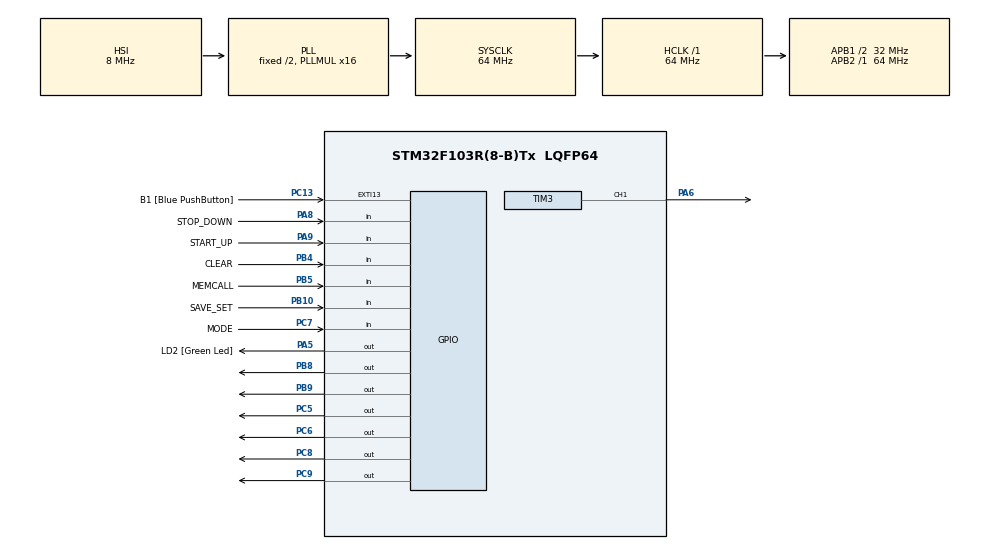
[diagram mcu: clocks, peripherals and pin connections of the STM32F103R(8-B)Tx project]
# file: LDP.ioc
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Mcu.Family=STM32F1
Mcu.Name=STM32F103R(8-B)Tx
Mcu.Package=LQFP64
NVIC.EXTI15_10_IRQn=true\:0\:0\:false\:false\:true\:true\:true
NVIC.PriorityGroup=NVIC_PRIORITYGROUP_4
NVIC.RCC_IRQn=true\:0\:0\:false\:false\:true\:true\:false
NVIC.TIM2_IRQn=true\:0\:0\:false\:false\:true\:true\:true
NVIC.TIM3_IRQn=true\:0\:0\:false\:false\:true\:true\:true
PA13.GPIO_Label=TMS
PA13.Mode=Serial_Wire
PA13.Signal=SYS_JTMS-SWDIO
PA14.GPIO_Label=TCK
PA14.Mode=Serial_Wire
PA14.Signal=SYS_JTCK-SWCLK
PA2.GPIO_Label=USART_TX
PA2.GPIO_Mode=GPIO_MODE_AF_PP
PA2.GPIO_PuPd=GPIO_NOPULL
PA2.GPIO_Speed=GPIO_SPEED_FREQ_LOW
PA2.Signal=USART2_TX
PA3.GPIO_Label=USART_RX
PA3.GPIO_Mode=GPIO_MODE_AF_PP
PA3.GPIO_PuPd=GPIO_NOPULL
PA3.GPIO_Speed=GPIO_SPEED_FREQ_LOW
PA3.Signal=USART2_RX
PA5.GPIO_Label=LD2 [Green Led]
PA5.GPIO_ModeDefaultOutputPP=GPIO_MODE_OUTPUT_PP
PA5.GPIO_PuPd=GPIO_NOPULL
PA5.GPIO_Speed=GPIO_SPEED_FREQ_LOW
PA5.Signal=GPIO_Output
PA6.Signal=S_TIM3_CH1
PA8.GPIO_Label=STOP_DOWN
PA8.GPIO_PuPd=GPIO_PULLUP
PA8.Signal=GPIO_Input
PA9.GPIO_Label=START_UP
PA9.GPIO_PuPd=GPIO_PULLUP
PA9.Signal=GPIO_Input
PB10.GPIO_Label=SAVE_SET
PB10.GPIO_PuPd=GPIO_PULLUP
PB10.Signal=GPIO_Input
PB3.GPIO_Label=SWO
PB3.Signal=SYS_JTDO-TRACESWO
PB4.GPIO_Label=CLEAR
PB4.GPIO_PuPd=GPIO_PULLUP
PB4.Signal=GPIO_Input
PB5.GPIO_Label=MEMCALL
PB5.GPIO_PuPd=GPIO_PULLUP
PB5.Signal=GPIO_Input
PB8.Signal=GPIO_Output
PB9.Signal=GPIO_Output
PC13-TAMPER-RTC.GPIO_Label=B1 [Blue PushButton]
PC13-TAMPER-RTC.GPIO_PuPd=GPIO_NOPULL
PC13-TAMPER-RTC.Signal=GPXTI13
PC14-OSC32_IN.Mode=LSE-External-Oscillator
PC14-OSC32_IN.Signal=RCC_OSC32_IN
PC15-OSC32_OUT.Mode=LSE-External-Oscillator
PC15-OSC32_OUT.Signal=RCC_OSC32_OUT
PC5.Signal=GPIO_Output
PC6.Signal=GPIO_Output
PC7.GPIO_Label=MODE
PC7.GPIO_PuPd=GPIO_PULLUP
PC7.Signal=GPIO_Input
PC8.Signal=GPIO_Output
PC9.Signal=GPIO_Output
PD0-OSC_IN.Mode=HSE-External-Oscillator
PD0-OSC_IN.Signal=RCC_OSC_IN
PD1-OSC_OUT.Mode=HSE-External-Oscillator
PD1-OSC_OUT.Signal=RCC_OSC_OUT
ProjectManager.HeapSize=0x200
ProjectManager.StackSize=0x400
ProjectManager.TargetToolchain=STM32CubeIDE
RCC.AHBFreq_Value=64000000
RCC.APB1CLKDivider=RCC_HCLK_DIV2
RCC.APB1Freq_Value=32000000
RCC.APB1TimFreq_Value=64000000
RCC.APB2Freq_Value=64000000
RCC.APB2TimFreq_Value=64000000
RCC.HCLKFreq_Value=64000000
RCC.PLLMUL=RCC_PLL_MUL16
RCC.RTCClockSelection=RCC_RTCCLKSOURCE_HSE_DIV128
RCC.SYSCLKFreq_VALUE=64000000
RCC.SYSCLKSource=RCC_SYSCLKSOURCE_PLLCLK
RCC.USBFreq_Value=64000000
RTC.Date=9
RTC.Hours=14
RTC.Minutes=7
RTC.Year=23
SH.S_TIM3_CH1.0=TIM3_CH1,PWM Generation1 CH1
TIM2.Period=9
TIM2.Prescaler=63999
TIM3.Channel-PWM\ Generation1\ CH1=TIM_CHANNEL_1
TIM3.OCPolarity_1=TIM_OCPOLARITY_LOW
TIM3.Period=99
TIM3.Prescaler=639
VP_RTC_VS_RTC_Activate.Mode=RTC_Enabled
VP_RTC_VS_RTC_Calendar.Mode=RTC_Calendar
VP_TIM2_VS_ClockSourceINT.Mode=Internal
VP_TIM3_VS_ClockSourceINT.Mode=Internal
board=NUCLEO-F103RB

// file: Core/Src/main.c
/* USER CODE BEGIN Header */
/**
  ******************************************************************************
  * @file           : main.c
  * @brief          : Main program body
  ******************************************************************************
  * @attention
  *
  * <h2><center>&copy; Copyright (c) 2023 STMicroelectronics.
  * All rights reserved.</center></h2>
  *
  * This software component is licensed by ST under BSD 3-Clause license,
  * the "License"; You may not use this file except in compliance with the
  * License. You may obtain a copy of the License at:
  *                        opensource.org/licenses/BSD-3-Clause
  *
  ******************************************************************************
  */
/* USER CODE END Header */
#include "main.h"

/* USER CODE BEGIN Includes */
#include "lcd1602.h"
#include "rtc.h"
#include "global.h"
#include "button.h"
#include "software_timer.h"
#include "fsm_clock.h"
/* USER CODE END Includes */

RTC_HandleTypeDef hrtc;

TIM_HandleTypeDef htim2;
TIM_HandleTypeDef htim3;

void SystemClock_Config(void);
static void MX_GPIO_Init(void);
static void MX_TIM2_Init(void);
static void MX_TIM3_Init(void);
static void MX_RTC_Init(void);

int main(void)
{

  /* MCU Configuration--------------------------------------------------------*/

  /* Reset of all peripherals, Initializes the Flash interface and the Systick. */
  HAL_Init();

  /* Configure the system clock */
  SystemClock_Config();

  /* Initialize all configured peripherals */
  MX_GPIO_Init();
  MX_TIM2_Init();
  MX_TIM3_Init();
  MX_RTC_Init();
  /* USER CODE BEGIN 2 */
  HAL_TIM_PWM_Start(&htim3, TIM_CHANNEL_1);
  HAL_TIM_Base_Start_IT(&htim2);

  /*----------Create LCD--------------------------------*/
  // Lcd_PortType ports[] = { D4_GPIO_Port, D5_GPIO_Port, D6_GPIO_Port, D7_GPIO_Port };
  Lcd_PortType ports[] = { GPIOC, GPIOC, GPIOC, GPIOC };
  // Lcd_PinType pins[] = {D4_Pin, D5_Pin, D6_Pin, D7_Pin};
  Lcd_PinType pins[] = {GPIO_PIN_5, GPIO_PIN_6, GPIO_PIN_8, GPIO_PIN_9};
  // Lcd_create(ports, pins, RS_GPIO_Port, RS_Pin, EN_GPIO_Port, EN_Pin, LCD_4_BIT_MODE);
  lcd = Lcd_create(ports, pins, GPIOB, GPIO_PIN_9, GPIOB, GPIO_PIN_8, LCD_4_BIT_MODE);

  /*----------Check RTC---------------------------------*/
  if(HAL_RTCEx_BKUPRead(&hrtc, RTC_BKP_DR1) != 0x32F2) {
     set_time();
  }

  /* USER CODE END 2 */

  /* Infinite loop */
  /* USER CODE BEGIN WHILE */
  fsm_init();
  setTimer(0, 1000);
  __HAL_TIM_SetCompare(&htim3, TIM_CHANNEL_1, 0);
  while (1)
  {
    /* USER CODE END WHILE */

    /* USER CODE BEGIN 3 */
	  fsm_clock();
  }
  /* USER CODE END 3 */
}

void SystemClock_Config(void)
{
  RCC_OscInitTypeDef RCC_OscInitStruct = {0};
  RCC_ClkInitTypeDef RCC_ClkInitStruct = {0};
  RCC_PeriphCLKInitTypeDef PeriphClkInit = {0};

  /** Initializes the RCC Oscillators according to the specified parameters
  * in the RCC_OscInitTypeDef structure.
  */
  RCC_OscInitStruct.OscillatorType = RCC_OSCILLATORTYPE_HSI|RCC_OSCILLATORTYPE_HSE;
  RCC_OscInitStruct.HSEState = RCC_HSE_ON;
  RCC_OscInitStruct.HSIState = RCC_HSI_ON;
  RCC_OscInitStruct.HSICalibrationValue = RCC_HSICALIBRATION_DEFAULT;
  RCC_OscInitStruct.PLL.PLLState = RCC_PLL_ON;
  RCC_OscInitStruct.PLL.PLLSource = RCC_PLLSOURCE_HSI_DIV2;
  RCC_OscInitStruct.PLL.PLLMUL = RCC_PLL_MUL16;
  if (HAL_RCC_OscConfig(&RCC_OscInitStruct) != HAL_OK)
  {
    Error_Handler();
  }
  /** Initializes the CPU, AHB and APB buses clocks
  */
  RCC_ClkInitStruct.ClockType = RCC_CLOCKTYPE_HCLK|RCC_CLOCKTYPE_SYSCLK
                              |RCC_CLOCKTYPE_PCLK1|RCC_CLOCKTYPE_PCLK2;
  RCC_ClkInitStruct.SYSCLKSource = RCC_SYSCLKSOURCE_PLLCLK;
  RCC_ClkInitStruct.AHBCLKDivider = RCC_SYSCLK_DIV1;
  RCC_ClkInitStruct.APB1CLKDivider = RCC_HCLK_DIV2;
  RCC_ClkInitStruct.APB2CLKDivider = RCC_HCLK_DIV1;

  if (HAL_RCC_ClockConfig(&RCC_ClkInitStruct, FLASH_LATENCY_2) != HAL_OK)
  {
    Error_Handler();
  }
  PeriphClkInit.PeriphClockSelection = RCC_PERIPHCLK_RTC;
  PeriphClkInit.RTCClockSelection = RCC_RTCCLKSOURCE_HSE_DIV128;
  if (HAL_RCCEx_PeriphCLKConfig(&PeriphClkInit) != HAL_OK)
  {
    Error_Handler();
  }
}

static void MX_RTC_Init(void)
{

  RTC_TimeTypeDef sTime = {0};
  RTC_DateTypeDef DateToUpdate = {0};

  /** Initialize RTC Only
  */
  hrtc.Instance = RTC;
  hrtc.Init.AsynchPrediv = RTC_AUTO_1_SECOND;
  hrtc.Init.OutPut = RTC_OUTPUTSOURCE_ALARM;
  if (HAL_RTC_Init(&hrtc) != HAL_OK)
  {
    Error_Handler();
  }

  /** Initialize RTC and set the Time and Date
  */
  sTime.Hours = 0x14;
  sTime.Minutes = 0x7;
  sTime.Seconds = 0x0;

  if (HAL_RTC_SetTime(&hrtc, &sTime, RTC_FORMAT_BCD) != HAL_OK)
  {
    Error_Handler();
  }
  DateToUpdate.WeekDay = RTC_WEEKDAY_MONDAY;
  DateToUpdate.Month = RTC_MONTH_JANUARY;
  DateToUpdate.Date = 0x9;
  DateToUpdate.Year = 0x23;

  if (HAL_RTC_SetDate(&hrtc, &DateToUpdate, RTC_FORMAT_BCD) != HAL_OK)
  {
    Error_Handler();
  }

}

static void MX_TIM2_Init(void)
{

  TIM_ClockConfigTypeDef sClockSourceConfig = {0};
  TIM_MasterConfigTypeDef sMasterConfig = {0};

  htim2.Instance = TIM2;
  htim2.Init.Prescaler = 63999;
  htim2.Init.CounterMode = TIM_COUNTERMODE_UP;
  htim2.Init.Period = 9;
  htim2.Init.ClockDivision = TIM_CLOCKDIVISION_DIV1;
  htim2.Init.AutoReloadPreload = TIM_AUTORELOAD_PRELOAD_DISABLE;
  if (HAL_TIM_Base_Init(&htim2) != HAL_OK)
  {
    Error_Handler();
  }
  sClockSourceConfig.ClockSource = TIM_CLOCKSOURCE_INTERNAL;
  if (HAL_TIM_ConfigClockSource(&htim2, &sClockSourceConfig) != HAL_OK)
  {
    Error_Handler();
  }
  sMasterConfig.MasterOutputTrigger = TIM_TRGO_RESET;
  sMasterConfig.MasterSlaveMode = TIM_MASTERSLAVEMODE_DISABLE;
  if (HAL_TIMEx_MasterConfigSynchronization(&htim2, &sMasterConfig) != HAL_OK)
  {
    Error_Handler();
  }
  /* USER CODE BEGIN TIM2_Init 2 */
  TIME_CYCLE = 1/(64e6/(htim2.Init.Prescaler + 1)/(htim2.Init.Period + 1)) * 1000; // Time cycle
  /* USER CODE END TIM2_Init 2 */

}

static void MX_TIM3_Init(void)
{

  TIM_ClockConfigTypeDef sClockSourceConfig = {0};
  TIM_MasterConfigTypeDef sMasterConfig = {0};
  TIM_OC_InitTypeDef sConfigOC = {0};

  htim3.Instance = TIM3;
  htim3.Init.Prescaler = 639;
  htim3.Init.CounterMode = TIM_COUNTERMODE_UP;
  htim3.Init.Period = 99;
  htim3.Init.ClockDivision = TIM_CLOCKDIVISION_DIV1;
  htim3.Init.AutoReloadPreload = TIM_AUTORELOAD_PRELOAD_DISABLE;
  if (HAL_TIM_Base_Init(&htim3) != HAL_OK)
  {
    Error_Handler();
  }
  sClockSourceConfig.ClockSource = TIM_CLOCKSOURCE_INTERNAL;
  if (HAL_TIM_ConfigClockSource(&htim3, &sClockSourceConfig) != HAL_OK)
  {
    Error_Handler();
  }
  if (HAL_TIM_PWM_Init(&htim3) != HAL_OK)
  {
    Error_Handler();
  }
  sMasterConfig.MasterOutputTrigger = TIM_TRGO_RESET;
  sMasterConfig.MasterSlaveMode = TIM_MASTERSLAVEMODE_DISABLE;
  if (HAL_TIMEx_MasterConfigSynchronization(&htim3, &sMasterConfig) != HAL_OK)
  {
    Error_Handler();
  }
  sConfigOC.OCMode = TIM_OCMODE_PWM1;
  sConfigOC.Pulse = 0;
  sConfigOC.OCPolarity = TIM_OCPOLARITY_LOW;
  sConfigOC.OCFastMode = TIM_OCFAST_DISABLE;
  if (HAL_TIM_PWM_ConfigChannel(&htim3, &sConfigOC, TIM_CHANNEL_1) != HAL_OK)
  {
    Error_Handler();
  }
  HAL_TIM_MspPostInit(&htim3);

}

static void MX_GPIO_Init(void)
{
  GPIO_InitTypeDef GPIO_InitStruct = {0};

  /* GPIO Ports Clock Enable */
  __HAL_RCC_GPIOC_CLK_ENABLE();
  __HAL_RCC_GPIOD_CLK_ENABLE();
  __HAL_RCC_GPIOA_CLK_ENABLE();
  __HAL_RCC_GPIOB_CLK_ENABLE();

  /*Configure GPIO pin Output Level */
  HAL_GPIO_WritePin(LD2_GPIO_Port, LD2_Pin, GPIO_PIN_RESET);

  /*Configure GPIO pin Output Level */
  HAL_GPIO_WritePin(GPIOC, GPIO_PIN_5|GPIO_PIN_6|GPIO_PIN_8|GPIO_PIN_9, GPIO_PIN_RESET);

  /*Configure GPIO pin Output Level */
  HAL_GPIO_WritePin(GPIOB, GPIO_PIN_8|GPIO_PIN_9, GPIO_PIN_RESET);

  /*Configure GPIO pin : B1_Pin */
  GPIO_InitStruct.Pin = B1_Pin;
  GPIO_InitStruct.Mode = GPIO_MODE_IT_RISING;
  GPIO_InitStruct.Pull = GPIO_NOPULL;
  HAL_GPIO_Init(B1_GPIO_Port, &GPIO_InitStruct);

  /*Configure GPIO pins : USART_TX_Pin USART_RX_Pin */
  GPIO_InitStruct.Pin = USART_TX_Pin|USART_RX_Pin;
  GPIO_InitStruct.Mode = GPIO_MODE_AF_PP;
  GPIO_InitStruct.Speed = GPIO_SPEED_FREQ_LOW;
  HAL_GPIO_Init(GPIOA, &GPIO_InitStruct);

  /*Configure GPIO pin : LD2_Pin */
  GPIO_InitStruct.Pin = LD2_Pin;
  GPIO_InitStruct.Mode = GPIO_MODE_OUTPUT_PP;
  GPIO_InitStruct.Pull = GPIO_NOPULL;
  GPIO_InitStruct.Speed = GPIO_SPEED_FREQ_LOW;
  HAL_GPIO_Init(LD2_GPIO_Port, &GPIO_InitStruct);

  /*Configure GPIO pins : PC5 PC6 PC8 PC9 */
  GPIO_InitStruct.Pin = GPIO_PIN_5|GPIO_PIN_6|GPIO_PIN_8|GPIO_PIN_9;
  GPIO_InitStruct.Mode = GPIO_MODE_OUTPUT_PP;
  GPIO_InitStruct.Pull = GPIO_NOPULL;
  GPIO_InitStruct.Speed = GPIO_SPEED_FREQ_LOW;
  HAL_GPIO_Init(GPIOC, &GPIO_InitStruct);

  /*Configure GPIO pins : SAVE_SET_Pin CLEAR_Pin MEMCALL_Pin */
  GPIO_InitStruct.Pin = SAVE_SET_Pin|CLEAR_Pin|MEMCALL_Pin;
  GPIO_InitStruct.Mode = GPIO_MODE_INPUT;
  GPIO_InitStruct.Pull = GPIO_PULLUP;
  HAL_GPIO_Init(GPIOB, &GPIO_InitStruct);

  /*Configure GPIO pin : MODE_Pin */
  GPIO_InitStruct.Pin = MODE_Pin;
  GPIO_InitStruct.Mode = GPIO_MODE_INPUT;
  GPIO_InitStruct.Pull = GPIO_PULLUP;
  HAL_GPIO_Init(MODE_GPIO_Port, &GPIO_InitStruct);

  /*Configure GPIO pins : STOP_DOWN_Pin START_UP_Pin */
  GPIO_InitStruct.Pin = STOP_DOWN_Pin|START_UP_Pin;
  GPIO_InitStruct.Mode = GPIO_MODE_INPUT;
  GPIO_InitStruct.Pull = GPIO_PULLUP;
  HAL_GPIO_Init(GPIOA, &GPIO_InitStruct);

  /*Configure GPIO pins : PB8 PB9 */
  GPIO_InitStruct.Pin = GPIO_PIN_8|GPIO_PIN_9;
  GPIO_InitStruct.Mode = GPIO_MODE_OUTPUT_PP;
  GPIO_InitStruct.Pull = GPIO_NOPULL;
  GPIO_InitStruct.Speed = GPIO_SPEED_FREQ_LOW;
  HAL_GPIO_Init(GPIOB, &GPIO_InitStruct);

  /* EXTI interrupt init*/
  HAL_NVIC_SetPriority(EXTI15_10_IRQn, 0, 0);
  HAL_NVIC_EnableIRQ(EXTI15_10_IRQn);

}

/* USER CODE BEGIN 4 */
void HAL_TIM_PeriodElapsedCallback(TIM_HandleTypeDef * htim) {
	timerRun();
	getKeyInput();
	update_real_time();
}
/* USER CODE END 4 */

void Error_Handler(void)
{
  __disable_irq();
  while (1)
  {
  }
}

/************************ (C) COPYRIGHT STMicroelectronics *****END OF FILE****/
